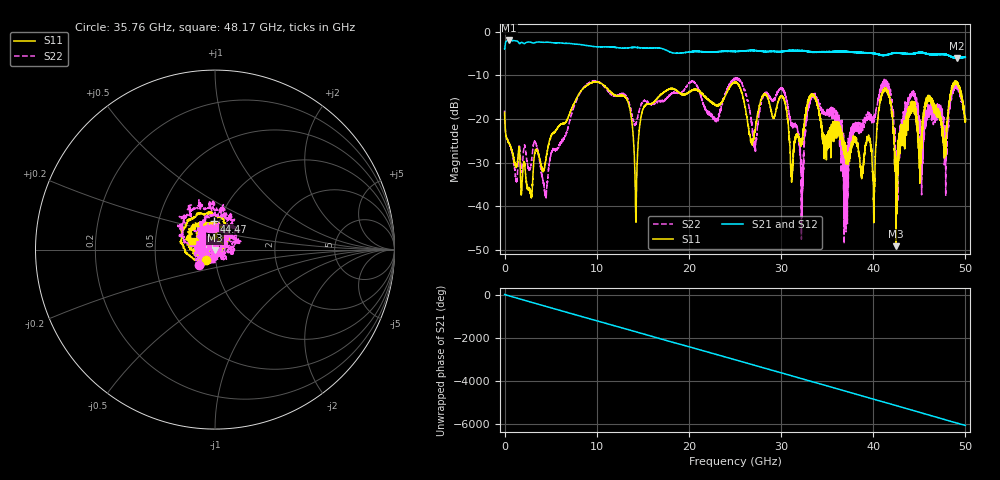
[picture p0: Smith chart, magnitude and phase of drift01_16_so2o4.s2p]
!Created with skrf (http://scikit-rf.org).
# Hz S RI R 50.0
!freq ReS11 ImS11 ReS21 ImS21 ReS12 ImS12 ReS22 ImS22
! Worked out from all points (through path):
!   10001 points, 300 kHz to 50 GHz, reference 50 ohm
!   highest |S21| = -2.00 dB at 490.3 MHz (marker M1); lowest = -6.1 dB at 49.05 GHz (marker M2)
!   group delay of S21, straight-line fit = 336 ps
!   lowest |S11| = -49.1 dB at 42.49 GHz (marker M3), VSWR 1.01, Z = 50 - j0.349 ohm
!   |S11| at or under -10 dB: start of sweep to end of sweep
!   |S22| runs from -48.6 to -10.5 dB; largest |S21 - S12| = 0.018
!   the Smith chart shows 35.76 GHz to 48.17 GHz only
!   S11 on the Smith chart (normalised r, x): 35.76 GHz: 0.90, -0.10; 44.47 GHz: 0.94, +0.30; 48.17 GHz: 0.77, +0.08
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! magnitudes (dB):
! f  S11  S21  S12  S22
! 300 kHz  -18.5  -4.0  -4.1  -18.1
! 490.3 MHz  -25.6  -2.0  -2.0  -25.5
! 4.435 GHz  -29.9  -2.4  -2.4  -37.2
! 8.335 GHz  -13.4  -3.0  -3.0  -13.5
! 13.16 GHz  -15.2  -3.8  -3.7  -14.7
! 14.25 GHz  -42.8  -3.6  -3.6  -21.1
! 16.67 GHz  -14.9  -3.7  -3.7  -15.9
! 25 GHz  -11.6  -4.5  -4.6  -10.9
! 27.14 GHz  -22.7  -4.3  -4.3  -26.0
! 30.2 GHz  -15.1  -4.5  -4.5  -13.3
! 31.14 GHz  -31.9  -4.3  -4.3  -21.3
! 32.23 GHz  -24.9  -4.4  -4.4  -40.9
! 33.34 GHz  -14.3  -4.7  -4.6  -14.6
! 35.76 GHz  -22.7  -4.6  -4.6  -18.1
! 37.04 GHz  -27.3  -4.6  -4.5  -26.8
! 40.06 GHz  -43.3  -5.0  -5.0  -20.6
! 41.67 GHz  -14.3  -5.1  -5.2  -12.6
! 42.49 GHz  -49.1  -4.8  -4.9  -30.6
! 44.47 GHz  -16.1  -5.0  -5.0  -14.4
! 48.17 GHz  -17.1  -5.4  -5.4  -21.9
! 49.05 GHz  -11.7  -6.1  -6.1  -12.4
! 50 GHz  -19.8  -5.8  -5.8  -19.7
